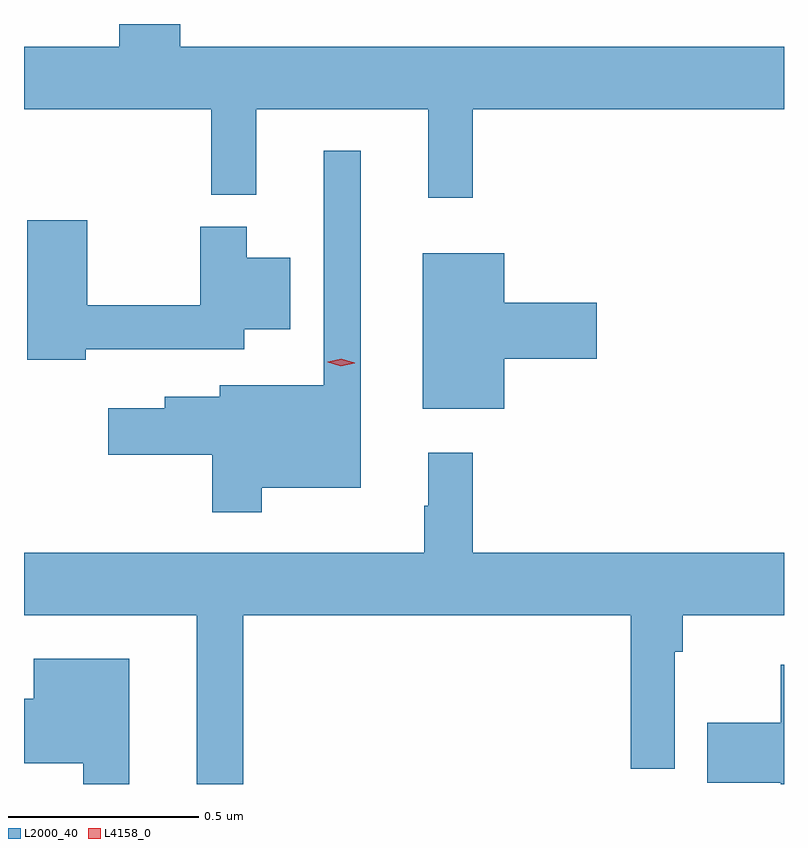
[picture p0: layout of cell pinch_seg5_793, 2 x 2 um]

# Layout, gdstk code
import gdstk
lib = gdstk.Library(unit=1e-6, precision=1e-09)
def P(c, l, *ps):  # polygons
    for p in ps: c.add(gdstk.Polygon(p, *l))
L2000_40 = (2000, 40)
L4158_0 = (4158, 0)

pinch_seg5_793 = lib.new_cell('pinch_seg5_793')
P(pinch_seg5_793, L2000_40, [(796.775,896.72),(797.594,896.72),(797.594,896.884),(796.005,896.884),(796.005,896.944),(795.845,896.944),(795.845,896.884),(795.594,896.884),(795.594,896.72),(796.087,896.72),(796.087,896.495),(796.205,896.495),(796.205,896.72),(796.658,896.72),(796.658,896.487),(796.775,896.487)],
  [(796.219,895.724),(796.48,895.724),(796.48,896.611),(796.383,896.611),(796.383,895.993),(796.109,895.993),(796.109,895.963),(795.965,895.963),(795.965,895.933),(795.816,895.933),(795.816,895.811),(796.09,895.811),(796.09,895.659),(796.219,895.659)],
  [(795.756,896.088),(796.174,896.088),(796.174,896.141),(796.294,896.141),(796.294,896.329),(796.18,896.329),(796.18,896.41),(796.058,896.41),(796.058,896.204),(795.76,896.204),(795.76,896.428),(795.602,896.428),(795.602,896.06),(795.756,896.06)],
  [(796.858,896.063),(797.101,896.063),(797.101,896.21),(796.858,896.21),(796.858,896.341),(796.643,896.341),(796.643,895.931),(796.858,895.931)],
  [(796.171,895.388),(797.191,895.388),(797.191,894.984),(797.307,894.984),(797.307,895.292),(797.327,895.292),(797.327,895.388),(797.594,895.388),(797.594,895.552),(796.775,895.552),(796.775,895.816),(796.658,895.816),(796.658,895.676),(796.647,895.676),(796.647,895.552),(795.594,895.552),(795.594,895.388),(796.049,895.388),(796.049,894.944),(796.171,894.944)],
  [(795.871,895.273),(795.62,895.273),(795.62,895.168),(795.594,895.168),(795.594,894.998),(795.75,894.998),(795.75,894.944),(795.871,894.944)],
  [(797.594,895.258),(797.585,895.258),(797.585,895.105),(797.392,895.105),(797.392,894.947),(797.585,894.947),(797.585,894.944),(797.594,894.944)])
P(pinch_seg5_793, L4158_0, [(796.428,896.043),(796.393,896.054),(796.393,896.055),(796.393,896.055),(796.429,896.063),(796.464,896.052),(796.464,896.051),(796.464,896.051)])

lib.write_gds('pinch_seg5_793.gds')
